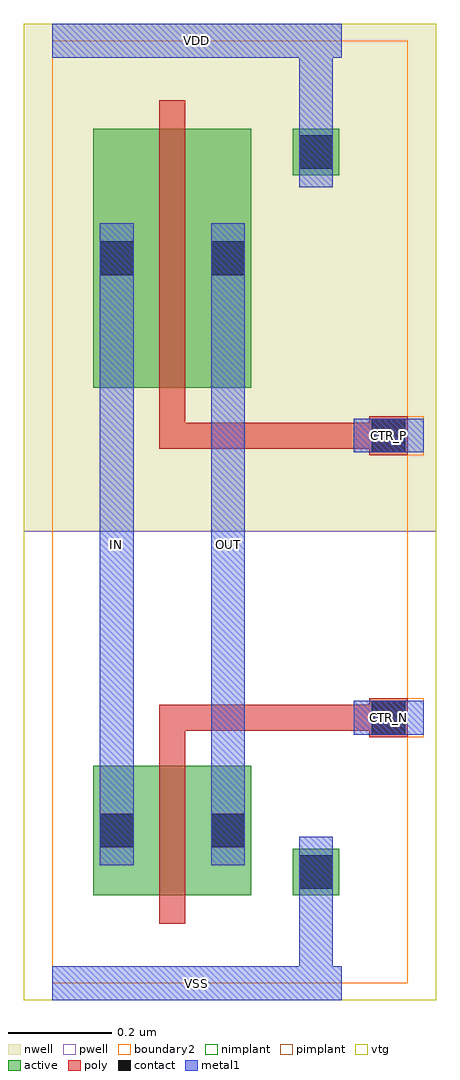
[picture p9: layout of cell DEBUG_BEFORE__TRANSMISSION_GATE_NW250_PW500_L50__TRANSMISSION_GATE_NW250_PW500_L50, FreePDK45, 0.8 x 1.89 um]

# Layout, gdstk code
import gdstk
lib = gdstk.Library(unit=1e-6, precision=5e-10)
def R(c, l, rs):  # rectangles x0, y0, x1, y1
    for r in rs: c.add(gdstk.rectangle(r[:2], r[2:], *l))
active = (1, 0)
pwell = (2, 0)
nwell = (3, 0)
nimplant = (4, 0)
pimplant = (5, 0)
vtg = (6, 0)
poly = (9, 0)
contact = (10, 0)
metal1 = (11, 0)
boundary2 = (239, 0)

debug_before__transmissi = lib.new_cell('DEBUG_BEFORE__TRANSMISSION_GATE_NW250_PW500_L50__TRANSMISSION_GATE_NW250_PW500_L50_contact_8')
R(debug_before__transmissi, active, [(0,0.0225,0.09,0.1125)])
R(debug_before__transmissi, nwell, [(-0.055,-0.0325,0.145,0.1675)])
R(debug_before__transmissi, pimplant, [(0,0.0225,0.09,0.1125)])
R(debug_before__transmissi, contact, [(0.0125,0.035,0.0775,0.1)])
R(debug_before__transmissi, metal1, [(0.0125,0,0.0775,0.135)])
R(debug_before__transmissi, boundary2, [(-0.055,-0.0325,0.145,0.1675)])

c_debug_before__transmissi = lib.new_cell('DEBUG_BEFORE__TRANSMISSION_GATE_NW250_PW500_L50__TRANSMISSION_GATE_NW250_PW500_L50_pmos_m1_w0_500_sm1_dm1')
R(c_debug_before__transmissi, active, [(0,0,0.305,0.5)])
R(c_debug_before__transmissi, nwell, [(-0.08,-0.08,0.385,0.58)])
R(c_debug_before__transmissi, pimplant, [(0,0,0.305,0.5)])
R(c_debug_before__transmissi, vtg, [(-0.08,-0.08,0.385,0.58)])
R(c_debug_before__transmissi, poly, [(0.1275,-0.055,0.1775,0.555), (0.1275,-0.055,0.1775,0.555)])
R(c_debug_before__transmissi, metal1, [(0.0125,0.1825,0.0775,0.3175), (0.2275,0.1825,0.2925,0.3175)])
R(c_debug_before__transmissi, boundary2, [(-0.08,-0.08,0.385,0.58)])
c_debug_before__transmissi.add(gdstk.Reference(debug_before__transmissi, (0,0.1825)))
c_debug_before__transmissi.add(gdstk.Reference(debug_before__transmissi, (0.215,0.1825)))
c_debug_before__transmissi.add(gdstk.Label('G', (0.1525,0.25), layer=9, texttype=0))
c_debug_before__transmissi.add(gdstk.Label('S', (0.045,0.25), layer=11, texttype=0))
c_debug_before__transmissi.add(gdstk.Label('D', (0.26,0.25), layer=11, texttype=0))

c_debug_before__transmissi_ = lib.new_cell('DEBUG_BEFORE__TRANSMISSION_GATE_NW250_PW500_L50__TRANSMISSION_GATE_NW250_PW500_L50_contact_7')
R(c_debug_before__transmissi_, active, [(0,0.0225,0.09,0.1125)])
R(c_debug_before__transmissi_, pwell, [(-0.055,-0.0325,0.145,0.1675)])
R(c_debug_before__transmissi_, nimplant, [(0,0.0225,0.09,0.1125)])
R(c_debug_before__transmissi_, contact, [(0.0125,0.035,0.0775,0.1)])
R(c_debug_before__transmissi_, metal1, [(0.0125,0,0.0775,0.135)])
R(c_debug_before__transmissi_, boundary2, [(-0.055,-0.0325,0.145,0.1675)])

c_debug_before__transmissi__ = lib.new_cell('DEBUG_BEFORE__TRANSMISSION_GATE_NW250_PW500_L50__TRANSMISSION_GATE_NW250_PW500_L50_nmos_m1_w0_250_sm1_dm1')
R(c_debug_before__transmissi__, active, [(0,0,0.305,0.25)])
R(c_debug_before__transmissi__, pwell, [(-0.08,-0.08,0.385,0.33)])
R(c_debug_before__transmissi__, nimplant, [(0,0,0.305,0.25)])
R(c_debug_before__transmissi__, vtg, [(-0.08,-0.08,0.385,0.33)])
R(c_debug_before__transmissi__, poly, [(0.1275,-0.055,0.1775,0.305), (0.1275,-0.055,0.1775,0.305)])
R(c_debug_before__transmissi__, metal1, [(0.0125,0.0575,0.0775,0.1925), (0.2275,0.0575,0.2925,0.1925)])
R(c_debug_before__transmissi__, boundary2, [(-0.08,-0.08,0.385,0.33)])
c_debug_before__transmissi__.add(gdstk.Reference(c_debug_before__transmissi_, (0,0.0575)))
c_debug_before__transmissi__.add(gdstk.Reference(c_debug_before__transmissi_, (0.215,0.0575)))
c_debug_before__transmissi__.add(gdstk.Label('G', (0.1525,0.125), layer=9, texttype=0))
c_debug_before__transmissi__.add(gdstk.Label('S', (0.045,0.125), layer=11, texttype=0))
c_debug_before__transmissi__.add(gdstk.Label('D', (0.26,0.125), layer=11, texttype=0))

c_debug_before__transmissi___ = lib.new_cell('DEBUG_BEFORE__TRANSMISSION_GATE_NW250_PW500_L50__TRANSMISSION_GATE_NW250_PW500_L50_contact_9')
R(c_debug_before__transmissi___, active, [(0,0.0225,0.09,0.1125)])
R(c_debug_before__transmissi___, nwell, [(-0.055,-0.0325,0.145,0.1675)])
R(c_debug_before__transmissi___, nimplant, [(0,0.0225,0.09,0.1125)])
R(c_debug_before__transmissi___, contact, [(0.0125,0.035,0.0775,0.1)])
R(c_debug_before__transmissi___, metal1, [(0.0125,0,0.0775,0.135)])
R(c_debug_before__transmissi___, boundary2, [(-0.055,-0.0325,0.145,0.1675)])

c_debug_before__transmissi____ = lib.new_cell('DEBUG_BEFORE__TRANSMISSION_GATE_NW250_PW500_L50__TRANSMISSION_GATE_NW250_PW500_L50_contact_10')
R(c_debug_before__transmissi____, active, [(0,0.0225,0.09,0.1125)])
R(c_debug_before__transmissi____, pwell, [(-0.055,-0.0325,0.145,0.1675)])
R(c_debug_before__transmissi____, pimplant, [(0,0.0225,0.09,0.1125)])
R(c_debug_before__transmissi____, contact, [(0.0125,0.035,0.0775,0.1)])
R(c_debug_before__transmissi____, metal1, [(0.0125,0,0.0775,0.135)])
R(c_debug_before__transmissi____, boundary2, [(-0.055,-0.0325,0.145,0.1675)])

c_debug_before__transmissi_____ = lib.new_cell('DEBUG_BEFORE__TRANSMISSION_GATE_NW250_PW500_L50__TRANSMISSION_GATE_NW250_PW500_L50_contact_11')
R(c_debug_before__transmissi_____, poly, [(0.03,0,0.105,0.075)])
R(c_debug_before__transmissi_____, contact, [(0.035,0.005,0.1,0.07)])
R(c_debug_before__transmissi_____, metal1, [(0,0.005,0.135,0.07)])
R(c_debug_before__transmissi_____, boundary2, [(0,0,0.135,0.075)])

c_debug_before__transmissi______ = lib.new_cell('DEBUG_BEFORE__TRANSMISSION_GATE_NW250_PW500_L50__TRANSMISSION_GATE_NW250_PW500_L50_core')
R(c_debug_before__transmissi______, pwell, [(-0.055,-0.0325,0.7425,0.8725)])
R(c_debug_before__transmissi______, nwell, [(-0.055,0.8725,0.7425,1.8525)])
R(c_debug_before__transmissi______, vtg, [(-0.055,-0.0325,0.7425,0.8725), (-0.055,0.8725,0.7425,1.8525)])
R(c_debug_before__transmissi______, poly, [(0.2075,0.295,0.2575,0.5125), (0.2075,0.4875,0.2575,0.5375), (0.2325,0.4875,0.65,0.5375), (0.2075,1.0325,0.2575,1.0825), (0.2325,1.0325,0.65,1.0825), (0.2075,1.0575,0.2575,1.4)])
R(c_debug_before__transmissi______, metal1, [(0,-0.0325,0.56,0.0325), (0.4775,0,0.5425,0.215), (0.0925,0.2275,0.1575,1.4675), (0.3075,0.2275,0.3725,1.4675), (0.5825,0.48,0.7175,0.545), (0.5825,1.025,0.7175,1.09), (0.4775,1.605,0.5425,1.82), (0,1.7875,0.56,1.8525)])
R(c_debug_before__transmissi______, boundary2, [(0,0,0.6875,1.82), (0,0,0.6875,1.82)])
c_debug_before__transmissi______.add(gdstk.Reference(c_debug_before__transmissi, (0.08,1.15)))
c_debug_before__transmissi______.add(gdstk.Reference(c_debug_before__transmissi__, (0.08,0.17)))
c_debug_before__transmissi______.add(gdstk.Reference(c_debug_before__transmissi___, (0.465,1.5375)))
c_debug_before__transmissi______.add(gdstk.Reference(c_debug_before__transmissi____, (0.465,0.1475)))
c_debug_before__transmissi______.add(gdstk.Reference(c_debug_before__transmissi_____, (0.5825,1.02)))
c_debug_before__transmissi______.add(gdstk.Reference(c_debug_before__transmissi_____, (0.5825,0.475)))
c_debug_before__transmissi______.add(gdstk.Label('gnd', (0.28,0), layer=11, texttype=0))
c_debug_before__transmissi______.add(gdstk.Label('vdd', (0.28,1.82), layer=11, texttype=0))
c_debug_before__transmissi______.add(gdstk.Label('in', (0.125,0.8475), layer=11, texttype=0))
c_debug_before__transmissi______.add(gdstk.Label('out', (0.34,0.8475), layer=11, texttype=0))
c_debug_before__transmissi______.add(gdstk.Label('ctr_p', (0.65,1.0575), layer=11, texttype=0))
c_debug_before__transmissi______.add(gdstk.Label('ctr_n', (0.65,0.5125), layer=11, texttype=0))

c_debug_before__transmissi_______ = lib.new_cell('DEBUG_BEFORE__TRANSMISSION_GATE_NW250_PW500_L50__TRANSMISSION_GATE_NW250_PW500_L50')
R(c_debug_before__transmissi_______, metal1, [(0,-0.0325,0.56,0.0325), (0.0925,0.2275,0.1575,1.4675), (0.3075,0.2275,0.3725,1.4675), (0.5825,0.48,0.7175,0.545), (0.5825,1.025,0.7175,1.09), (0,1.7875,0.56,1.8525)])
R(c_debug_before__transmissi_______, boundary2, [(0,0,0.6875,1.82)])
c_debug_before__transmissi_______.add(gdstk.Reference(c_debug_before__transmissi______, (0,0)))
c_debug_before__transmissi_______.add(gdstk.Label('IN', (0.125,0.8475), layer=11, texttype=0))
c_debug_before__transmissi_______.add(gdstk.Label('OUT', (0.34,0.8475), layer=11, texttype=0))
c_debug_before__transmissi_______.add(gdstk.Label('CTR_P', (0.65,1.0575), layer=11, texttype=0))
c_debug_before__transmissi_______.add(gdstk.Label('CTR_N', (0.65,0.5125), layer=11, texttype=0))
c_debug_before__transmissi_______.add(gdstk.Label('VDD', (0.28,1.82), layer=11, texttype=0))
c_debug_before__transmissi_______.add(gdstk.Label('VSS', (0.28,0), layer=11, texttype=0))

lib.write_gds('DEBUG_BEFORE__TRANSMISSION_GATE_NW250_PW500_L50__TRANSMISSION_GATE_NW250_PW500_L50.gds')
